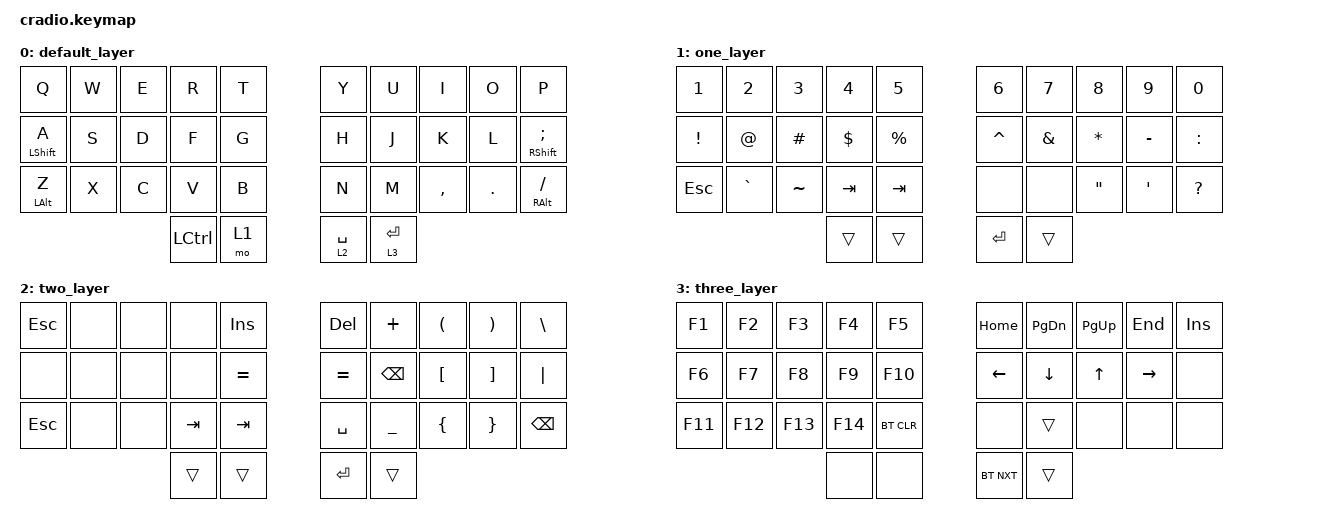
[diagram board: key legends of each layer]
// cOpyright (c) 2022 The ZMK Contributors
// SPDX-License-Identifier: MIT

#include <behaviors.dtsi>
#include <dt-bindings/zmk/keys.h>
#include <dt-bindings/zmk/bt.h>

// Home row mods macro
#define HRML(k1,k2,k3,k4) &ht LSHFT k1  &ht LALT k2  &ht LCTRL k3  &ht LGUI k4
#define HRMR(k1,k2,k3,k4) &ht RGUI k1  &ht RCTRL k2  &ht RALT k3  &ht RSHFT k4

/ {
    behaviors {
        ht: hold_tap {
            label = "hold_tap";
            compatible = "zmk,behavior-hold-tap";
            #binding-cells = <2>;
            flavor = "balanced";
            tapping-term-ms = <200>;
            quick-tap-ms = <0>;
            global-quick-tap;
            require-prior-idle-ms = <125>;
            bindings = <&kp>, <&kp>;
        };
    };

    keymap {
        compatible = "zmk,keymap";
        default_layer {
            bindings = <
        //╭──────────┬──────────┬──────────┬──────────┬──────────╮   ╭──────────┬──────────┬──────────┬──────────┬──────────╮
        //│  Q       │  W       │  E       │  R       │  T       │   │  Y       │  U       │  I       │  O       │  P       │
            &kp Q      &kp W      &kp E      &kp R      &kp T          &kp Y      &kp U      &kp I      &kp O      &kp P
        //├──────────┼──────────┼──────────┼──────────┼──────────┤   ├──────────┼──────────┼──────────┼──────────┼──────────┤
        //│  A       │  S       │  D       │  F       │  G       │   │  H       │  J       │  K       │  L       │  ;       │
          &ht LSHFT A  &kp S      &kp D      &kp F      &kp G          &kp H      &kp J      &kp K      &kp L    &ht RSHFT SEMI
        //├──────────┼──────────┼──────────┼──────────┼──────────┤   ├──────────┼──────────┼──────────┼──────────┼──────────┤
        //│  Z       │  X       │  C       │  V       │  B       │   │  N       │  M       │ , <      │ . >      │ / ?      │
            &ht LALT Z &kp X      &kp C      &kp V      &kp B          &kp N      &kp M      &kp COMMA  &kp DOT  &ht RALT FSLH
        //╰──────────┴──────────┴──────────┼──────────┼──────────┤   ├──────────┼──────────┼──────────┴──────────┴──────────╯
                                            &kp LCTRL   &mo 1         &lt 2 SPACE  &lt 3 ENTER
        //                                  &kp LCTRL   &lt 1 TAB     &lt 2 SPACE  &lt 3 ENTER
        //                                 ╰──────────┴──────────╯   ╰──────────┴──────────╯
            >;
        };

        one_layer {
            bindings = <
        //╭──────────┬──────────┬──────────┬──────────┬──────────╮   ╭──────────┬──────────┬──────────┬──────────┬──────────╮
        //│ 1        │  2       │  3       │  4       │  5       │   │  6       │  7       │  8       │  9       │  0       │
            &kp N1     &kp N2     &kp N3     &kp N4     &kp N5         &kp N6     &kp N7     &kp N8     &kp N9     &kp N0

        //├──────────┼──────────┼──────────┼──────────┼──────────┤   ├──────────┼──────────┼──────────┼──────────┼──────────┤
        //│  !       │  @       │  #       │  $       │  %       │   │  ^       │  &       │  *       │  -       │  :       │
            &kp EXCL   &kp AT     &kp HASH   &kp DLLR   &kp PRCNT      &kp CARET  &kp AMPS   &kp ASTRK  &kp MINUS  &kp COLON

        //├──────────┼──────────┼──────────┼──────────┼──────────┤   ├──────────┼──────────┼──────────┼──────────┼──────────┤
        //│          │  `       │ ~        │          │          │   │          │          │  "       │  '       │  ?
            &kp ESC    &kp GRAVE  &kp TILDE  &kp TAB    &kp TAB        &none      &none      &kp DQT    &kp SQT    &kp QMARK
        //╰──────────┴──────────┴──────────┼──────────┼──────────┤   ├──────────┼──────────┼──────────┴──────────┴──────────╯
                                             &trans     &trans         &kp ENTER  &trans
        //                                 ╰──────────┴──────────╯   ╰──────────┴──────────╯
            >;
        };


        two_layer {
            bindings = <
        //╭──────────┬──────────┬──────────┬──────────┬──────────╮   ╭──────────┬──────────┬──────────┬──────────┬──────────╮
        //│          │          │          │          │          │   │  DELETE  │  +       │  (       │  )       │  \       │
            &kp ESC    &none      &none      &none      &kp INSERT     &kp DEL   &kp PLUS    &kp LPAR   &kp RPAR   &kp BSLH
        //├──────────┼──────────┼──────────┼──────────┼──────────┤   ├──────────┼──────────┼──────────┼──────────┼──────────┤
        //│          │          │          │          │  =       │   │  =       │  BACKSPC    [       │  ]       │  |       │
            &none      &none      &none      &none      &kp EQUAL      &kp EQUAL  &kp BSPC   &kp LBKT   &kp RBKT   &kp PIPE
        //├──────────┼──────────┼──────────┼──────────┼──────────┤   ├──────────┼──────────┼──────────┼──────────┼──────────┤
        //│          │          │          │          │          │   │             _       |  {       │  }       │  BACKSPC │
            &kp ESC    &none      &none      &kp TAB    &kp TAB        &kp SPACE  &kp UNDER  &kp LBRC   &kp RBRC   &kp BSPC
        //╰──────────┴──────────┴──────────┼──────────┼──────────┤   ├──────────┼──────────┼──────────┴──────────┴──────────╯
                                             &trans     &trans         &kp ENTER   &trans
        //                                 ╰──────────┴──────────╯   ╰──────────┴──────────╯
            >;
        };

        three_layer {
            bindings = <
        //╭──────────┬──────────┬──────────┬──────────┬──────────╮   ╭──────────┬──────────┬──────────┬──────────┬──────────╮
        //│          │          │          │          │          │   │  HOME    │  PAGE DN │ PAGE UP  │ END      │          │
            &kp F1     &kp F2     &kp F3     &kp F4     &kp F5         &kp HOME   &kp PG_DN  &kp PG_UP  &kp END    &kp INSERT
        //├──────────┼──────────┼──────────┼──────────┼──────────┤   ├──────────┼──────────┼──────────┼──────────┼──────────┤
        //│          │          │          │          │          │   │  LEFT    │  DOWN    │  UP      │  RIGHT   │          │
            &kp F6     &kp F7     &kp F8     &kp F9     &kp F10        &kp LEFT   &kp DOWN   &kp UP     &kp RIGHT  &none
        //├──────────┼──────────┼──────────┼──────────┼──────────┤   ├──────────┼──────────┼──────────┼──────────┼──────────┤
        //│          │          │          │          │          │   │          │          │          │          │          │
            &kp F11    &kp F12    &kp F13    &kp F14   &bt BT_CLR      &none      &trans     &none      &none      &none
        //╰──────────┴──────────┴──────────┼──────────┼──────────┤   ├──────────┼──────────┼──────────┴──────────┴──────────╯
                                             &none      &none         &bt BT_NXT  &trans
        //                                 ╰──────────┴──────────╯   ╰──────────┴──────────╯
            >;
        };

    };
};
